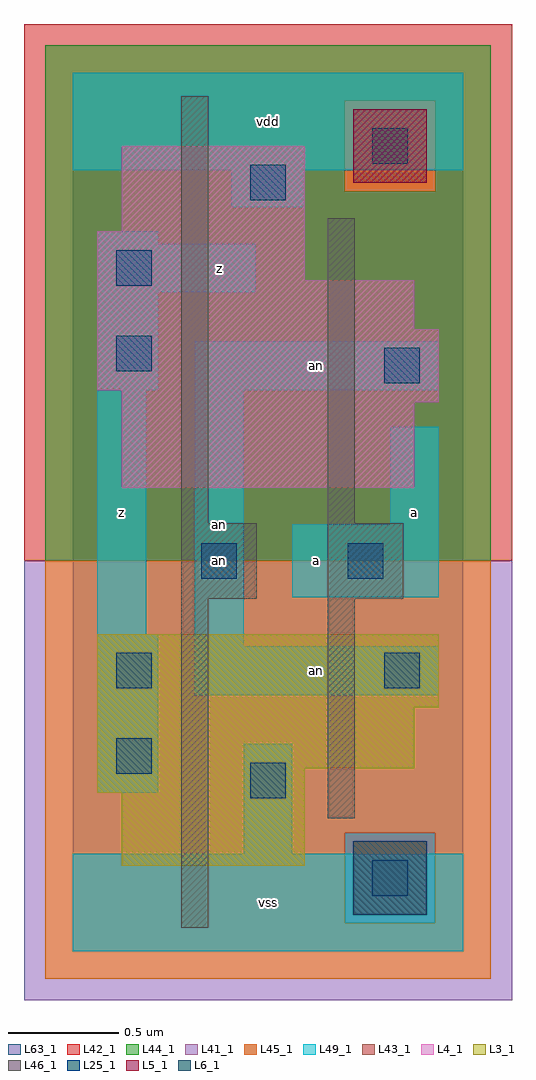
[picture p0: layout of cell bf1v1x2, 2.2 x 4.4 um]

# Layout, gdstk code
import gdstk
lib = gdstk.Library(unit=1e-6, precision=1e-09)
def R(c, l, rs):  # rectangles x0, y0, x1, y1
    for r in rs: c.add(gdstk.rectangle(r[:2], r[2:], *l))
L3_1 = (3, 1)
L4_1 = (4, 1)
L5_1 = (5, 1)
L6_1 = (6, 1)
L25_1 = (25, 1)
L41_1 = (41, 1)
L42_1 = (42, 1)
L43_1 = (43, 1)
L44_1 = (44, 1)
L45_1 = (45, 1)
L46_1 = (46, 1)
L49_1 = (49, 1)
L63_1 = (63, 1)

bf1v1x2 = lib.new_cell('bf1v1x2')
R(bf1v1x2, L3_1, [(0.22,0.385,1.045,0.715), (0.11,0.715,1.045,0.825), (0.11,0.825,1.54,1.1), (0.11,1.1,1.65,1.43)])
R(bf1v1x2, L4_1, [(0.22,2.09,1.54,2.475), (0.22,2.475,1.65,2.53), (0.11,2.53,1.65,2.805), (0.11,2.805,1.54,3.025), (0.11,3.025,1.045,3.245), (0.22,3.245,1.045,3.63)])
R(bf1v1x2, L5_1, [(1.265,3.465,1.595,3.795)])
R(bf1v1x2, L6_1, [(1.265,0.165,1.595,0.495)])
R(bf1v1x2, L25_1, [(1.35,0.25,1.51,0.41), (0.8,0.69,0.96,0.85), (0.195,0.8,0.355,0.96), (0.195,1.185,0.355,1.345), (1.405,1.185,1.565,1.345), (0.58,1.68,0.74,1.84), (1.24,1.68,1.4,1.84), (1.405,2.56,1.565,2.72), (0.195,2.615,0.355,2.775), (0.195,3,0.355,3.16), (0.8,3.385,0.96,3.545), (1.35,3.55,1.51,3.71)])
R(bf1v1x2, L41_1, [(-0.22,-0.22,1.98,1.76)])
R(bf1v1x2, L42_1, [(-0.22,1.76,1.98,4.18)])
R(bf1v1x2, L43_1, [(1.265,0.165,1.595,0.495), (0.22,0.385,1.045,0.715), (0.11,0.715,1.045,0.825), (0.11,0.825,1.54,1.1), (0.11,1.1,1.65,1.43), (0.22,2.09,1.54,2.475), (0.22,2.475,1.65,2.53), (0.11,2.53,1.65,2.805), (0.11,2.805,1.54,3.025), (0.11,3.025,1.045,3.245), (0.22,3.245,1.045,3.63), (1.265,3.465,1.595,3.795)])
R(bf1v1x2, L44_1, [(1.225,0.125,1.635,0.535), (-0.125,1.76,1.885,3.425), (-0.125,3.425,1.225,3.835), (1.635,3.425,1.885,3.835), (-0.125,3.835,1.885,4.085)])
R(bf1v1x2, L45_1, [(-0.125,-0.125,1.885,0.125), (-0.125,0.125,1.225,0.535), (1.635,0.125,1.885,0.535), (-0.125,0.535,1.885,1.76), (1.225,3.425,1.635,3.835)])
R(bf1v1x2, L46_1, [(0.49,0.105,0.61,1.59), (1.15,0.6,1.27,1.59), (0.49,1.59,0.83,1.93), (1.15,1.59,1.49,1.93), (0.49,1.93,0.61,3.855), (1.15,1.93,1.27,3.305)])
R(bf1v1x2, L49_1, [(0,0,1.76,0.44), (0.77,0.44,0.99,0.935), (0.11,0.715,0.385,1.43), (0.55,1.155,1.65,1.375), (0.55,1.375,0.77,2.53), (0.11,1.43,0.33,2.53), (0.99,1.595,1.65,1.925), (1.43,1.925,1.65,2.365), (0.11,2.53,0.385,2.97), (0.55,2.53,1.65,2.75), (0.11,2.97,0.825,3.19), (0.11,3.19,0.385,3.245), (0.715,3.355,1.045,3.52), (0,3.52,1.76,3.96)])
R(bf1v1x2, L63_1, [(0,0,1.76,3.96)])
bf1v1x2.add(gdstk.Label('an', (0.66,1.76), layer=49, texttype=1))
bf1v1x2.add(gdstk.Label('z', (0.22,1.98), layer=49, texttype=1))
bf1v1x2.add(gdstk.Label('an', (0.66,1.925), layer=49, texttype=1))
bf1v1x2.add(gdstk.Label('z', (0.66,3.08), layer=49, texttype=1))
bf1v1x2.add(gdstk.Label('vss', (0.88,0.22), layer=49, texttype=1))
bf1v1x2.add(gdstk.Label('a', (1.1,1.76), layer=49, texttype=1))
bf1v1x2.add(gdstk.Label('vdd', (0.88,3.74), layer=49, texttype=1))
bf1v1x2.add(gdstk.Label('an', (1.1,1.265), layer=49, texttype=1))
bf1v1x2.add(gdstk.Label('a', (1.54,1.98), layer=49, texttype=1))
bf1v1x2.add(gdstk.Label('an', (1.1,2.64), layer=49, texttype=1))

lib.write_gds('bf1v1x2.gds')
